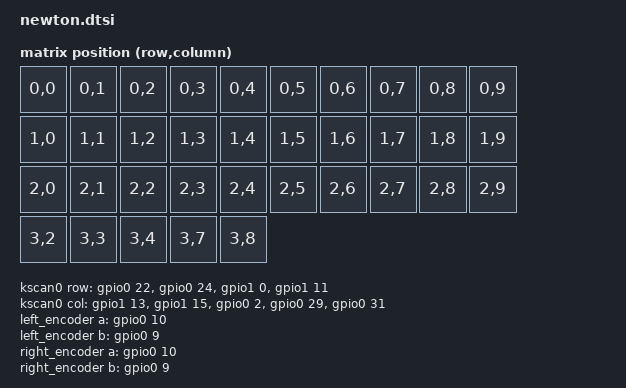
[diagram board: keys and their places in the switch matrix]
/*
 * Copyright (c) 2020 The ZMK Contributors
 *
 * SPDX-License-Identifier: MIT
 */

#include <dt-bindings/zmk/matrix_transform.h>
#include <layouts/cuddlykeyboards/ferris.dtsi>

&cuddlykeyboards_ferris_layout {
	transform = <&default_transform>;
};

/ {
	chosen {
		zmk,physical-layout = &cuddlykeyboards_ferris_layout;
		zmk,kscan = &kscan0 ;
	};

	default_transform: keymap_transform_0 {
		compatible = "zmk,matrix-transform";
		columns = <10>;
		rows = <4>;
		// | SW1  | SW2  | SW3  | SW4  | SW5  |    | SW5  | SW4  | SW3  | SW2  | SW1  |
		// | SW6  | SW7  | SW8  | SW9  | SW10 |    | SW10 | SW9  | SW8  | SW7  | SW6  |
		// | SW11 | SW12 | SW13 | SW14 | SW15 |    | SW15 | SW14 | SW13 | SW12 | SW11 |
		//                      | SW16 | SW17 |    | SW17 | SW16 |
		map = <
		RC(0,0) RC(0,1) RC(0,2) RC(0,3) RC(0,4)  RC(0,5) RC(0,6) RC(0,7) RC(0,8) RC(0,9)
		RC(1,0) RC(1,1) RC(1,2) RC(1,3) RC(1,4)  RC(1,5) RC(1,6) RC(1,7) RC(1,8) RC(1,9)
		RC(2,0) RC(2,1) RC(2,2) RC(2,3) RC(2,4)  RC(2,5) RC(2,6) RC(2,7) RC(2,8) RC(2,9)
		RC(3,2) RC(3,3) RC(3,4)  RC(3,7) RC(3,8)
		>;
	};

	kscan0: kscan {
		compatible = "zmk,kscan-gpio-matrix";
		wakeup-source;

		diode-direction = "row2col";
		row-gpios = <&gpio0 22 GPIO_ACTIVE_HIGH>,
		            <&gpio0 24 GPIO_ACTIVE_HIGH>,
		            <&gpio1 0 GPIO_ACTIVE_HIGH>,
		            <&gpio1 11 GPIO_ACTIVE_HIGH>;

		col-gpios = <&gpio1 13 (GPIO_ACTIVE_HIGH | GPIO_PULL_DOWN)>,
		            <&gpio1 15 (GPIO_ACTIVE_HIGH | GPIO_PULL_DOWN)>,
		            <&gpio0 2 (GPIO_ACTIVE_HIGH | GPIO_PULL_DOWN)>,
		            <&gpio0 29 (GPIO_ACTIVE_HIGH | GPIO_PULL_DOWN)>,
		            <&gpio0 31 (GPIO_ACTIVE_HIGH | GPIO_PULL_DOWN)>;
	};

	left_encoder: encoder_left {
		compatible = "alps,ec11";
		a-gpios = <&gpio0 10 (GPIO_ACTIVE_HIGH | GPIO_PULL_UP)>;
		b-gpios = <&gpio0 9 (GPIO_ACTIVE_HIGH | GPIO_PULL_UP)>;
		steps = <80>;
		status = "disabled";
	};

	right_encoder: encoder_right {
		compatible = "alps,ec11";
		a-gpios = <&gpio0 10 (GPIO_ACTIVE_HIGH | GPIO_PULL_UP)>;
		b-gpios = <&gpio0 9 (GPIO_ACTIVE_HIGH | GPIO_PULL_UP)>;
		steps = <80>;
		status = "disabled";
	};

	sensors: sensors {
		compatible = "zmk,keymap-sensors";
		sensors = <&left_encoder &right_encoder>;
		triggers-per-rotation = <20>;
	};

} ;

/ {
	glidepoint_listener: glidepoint_listener {
		compatible = "zmk,input-listener";
		status = "disabled";
	};
};
